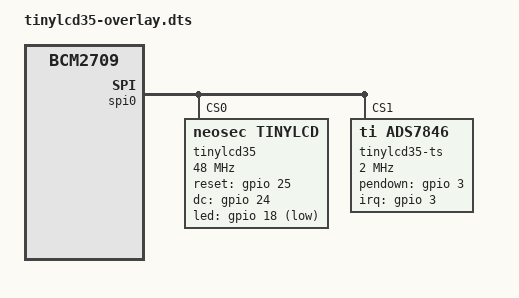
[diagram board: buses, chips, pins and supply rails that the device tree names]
/*
 * tinylcd 3.5" display
 *
 */

/dts-v1/;
/plugin/;

/ {
	compatible = "brcm,bcm2835", "brcm,bcm2708", "brcm,bcm2709";

	fragment@0 {
		target = <&spi0>;
		__overlay__ {
			status = "okay";

			spidev@0{
				status = "disabled";
			};

			spidev@1{
				status = "disabled";
			};
		};
	};

	fragment@1 {
		target = <&gpio>;
		__overlay__ {
			tinylcd35_pins: tinylcd35_pins {
				brcm,pins = <3 25 24 18>;
				brcm,function = <0 1 1 1>; /* in out out out */
			};
		};
	};

	fragment@2 {
		target = <&spi0>;
		__overlay__ {
			/* needed to avoid dtc warning */
			#address-cells = <1>;
			#size-cells = <0>;

			tinylcd35: tinylcd35@0{
				compatible = "neosec,tinylcd";
				reg = <0>;
				pinctrl-names = "default";
				pinctrl-0 = <&tinylcd35_pins>;

				spi-max-frequency = <48000000>;
				rotate = <270>;
				fps = <50>;
				bgr;
				buswidth = <8>;
				reset-gpios = <&gpio 25 0>;
				dc-gpios = <&gpio 24 0>;
				led-gpios = <&gpio 18 1>;
				debug = <0>;

				init = <0x10000B0 0x80
					0x10000C0 0x0A 0x0A
					0x10000C1 0x01 0x01
					0x10000C2 0x33
					0x10000C5 0x00 0x42 0x80
					0x10000B1 0xD0 0x11
					0x10000B4 0x02
					0x10000B6 0x00 0x22 0x3B
					0x10000B7 0x07
					0x1000036 0x58
					0x10000F0 0x36 0xA5 0xD3
					0x10000E5 0x80
					0x10000E5 0x01
					0x10000B3 0x00
					0x10000E5 0x00
					0x10000F0 0x36 0xA5 0x53
					0x10000E0 0x00 0x35 0x33 0x00 0x00 0x00 0x00 0x35 0x33 0x00 0x00 0x00
					0x100003A 0x55
					0x1000011
					0x2000001
					0x1000029>;
			};

			tinylcd35-ts@1 {
				compatible = "ti,ads7846";
				reg = <1>;

				spi-max-frequency = <2000000>;
				interrupts = <3 2>; /* high-to-low edge triggered */
				interrupt-parent = <&gpio>;
				pendown-gpio = <&gpio 3 0>;
				ti,x-plate-ohms = /bits/ 16 <100>;
				ti,pressure-max = /bits/ 16 <255>;
			};
		};
	};
	__overrides__ {
		speed =		<&tinylcd35>,"spi-max-frequency:0";
		rotate =	<&tinylcd35>,"rotate:0";
		fps =		<&tinylcd35>,"fps:0";
		debug =		<&tinylcd35>,"debug:0";
	};
};
